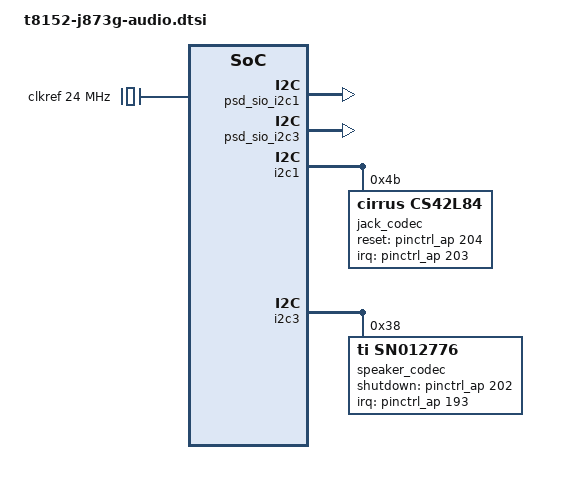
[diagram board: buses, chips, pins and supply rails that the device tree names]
// SPDX-License-Identifier: GPL-2.0+ OR MIT
/*
 * J873g audio: the 24 MHz reference clock, the SIO pinctrl, the two I2C
 * audio codecs and the sound card.
 *
 * ADT facts:
 *   i2c1 is at 0x331014000 (AIC 1414, service gate 15) with the child
 *        audio-codec-output (cs42l84, reg 0x4b, interrupt gpio 203,
 *        reset gpio 204).
 *   i2c3 is at 0x33101c000 (AIC 1416, service gate 17) with the child
 *        audio-speaker (sn012776, reg 0x38, interrupt gpio 193, reset
 *        gpio 202; speaker-config: one channel, amp gain 15, voltage
 *        sense slot 0, current sense slot 2).
 *   Service gates below 170 index the PSD slots: slot 15 = SIO_I2C1,
 *   slot 17 = SIO_I2C3, window 0x303a10000 + (slot << 8). The I2C PMGR
 *   devices have no power state register, so the PSD slot is the only
 *   power step.
 */
#include <dt-bindings/gpio/gpio.h>

/ {
	clkref: clock-ref {
		compatible = "fixed-clock";
		#clock-cells = <0>;
		clock-frequency = <24000000>;
	};

	soc {
		pinctrl_ap: pinctrl@31a000000 {
			compatible = "apple,t8152-pinctrl", "apple,t8103-pinctrl";
			reg = <0x3 0x1a000000 0x0 0x100000>;

			gpio-controller;
			#gpio-cells = <2>;
			gpio-ranges = <&pinctrl_ap 0 0 224>;
			apple,npins = <224>;

			interrupt-controller;
			#interrupt-cells = <2>;
			interrupt-parent = <&aic>;
			interrupts = <AIC_IRQ 433 IRQ_TYPE_LEVEL_HIGH>,
				     <AIC_IRQ 434 IRQ_TYPE_LEVEL_HIGH>,
				     <AIC_IRQ 435 IRQ_TYPE_LEVEL_HIGH>,
				     <AIC_IRQ 436 IRQ_TYPE_LEVEL_HIGH>,
				     <AIC_IRQ 437 IRQ_TYPE_LEVEL_HIGH>,
				     <AIC_IRQ 438 IRQ_TYPE_LEVEL_HIGH>,
				     <AIC_IRQ 439 IRQ_TYPE_LEVEL_HIGH>;
		};

		psd_sio_i2c1: power-controller@303a10f00 {
			compatible = "apple,t8152-psd";
			reg = <0x3 0x03a10f00 0x0 0x100>;
			#power-domain-cells = <0>;
			label = "psd_sio_i2c1";
		};

		psd_sio_i2c3: power-controller@303a11100 {
			compatible = "apple,t8152-psd";
			reg = <0x3 0x03a11100 0x0 0x100>;
			#power-domain-cells = <0>;
			label = "psd_sio_i2c3";
		};

		i2c1: i2c@331014000 {
			compatible = "apple,t8103-i2c", "apple,i2c";
			reg = <0x3 0x31014000 0x0 0x4000>;
			clocks = <&clkref>;
			interrupt-parent = <&aic>;
			interrupts = <AIC_IRQ 1414 IRQ_TYPE_LEVEL_HIGH>;
			power-domains = <&psd_sio_i2c1>;
			#address-cells = <1>;
			#size-cells = <0>;

			jack_codec: codec@4b {
				compatible = "cirrus,cs42l84";
				reg = <0x4b>;
				reset-gpios = <&pinctrl_ap 204 GPIO_ACTIVE_HIGH>;
				interrupts-extended = <&pinctrl_ap 203 IRQ_TYPE_LEVEL_LOW>;
				#sound-dai-cells = <0>;
				sound-name-prefix = "Jack";
			};
		};

		i2c3: i2c@33101c000 {
			compatible = "apple,t8103-i2c", "apple,i2c";
			reg = <0x3 0x3101c000 0x0 0x4000>;
			clocks = <&clkref>;
			interrupt-parent = <&aic>;
			interrupts = <AIC_IRQ 1416 IRQ_TYPE_LEVEL_HIGH>;
			power-domains = <&psd_sio_i2c3>;
			#address-cells = <1>;
			#size-cells = <0>;

			speaker_codec: codec@38 {
				compatible = "ti,sn012776";
				reg = <0x38>;
				shutdown-gpios = <&pinctrl_ap 202 GPIO_ACTIVE_HIGH>;
				interrupts-extended = <&pinctrl_ap 193 IRQ_TYPE_LEVEL_LOW>;
				#sound-dai-cells = <0>;
				sound-name-prefix = "Speaker";
				ti,imon-slot-no = <2>;
				ti,vmon-slot-no = <0>;
			};
		};
	};

	sound {
		compatible = "apple,j873-macaudio", "apple,macaudio";
		model = "Mac mini J873";
		#address-cells = <1>;
		#size-cells = <0>;

		dai-link@0 {
			reg = <0>;
			link-name = "Headphone Jack";

			cpu {
				sound-dai = <&aop_audio 0>;
			};

			codec {
				sound-dai = <&jack_codec>;
			};
		};

		/*
		 * The speaker is protected by the limiter of the AOP audio
		 * component (ceiling, high-pass and a thermal model), not by a
		 * user-space daemon: the machine has no sense stream for one.
		 */
		dai-link@1 {
			reg = <1>;
			link-name = "Speaker";

			cpu {
				sound-dai = <&aop_audio 4>;
			};

			codec {
				sound-dai = <&speaker_codec>;
			};
		};
	};
};
